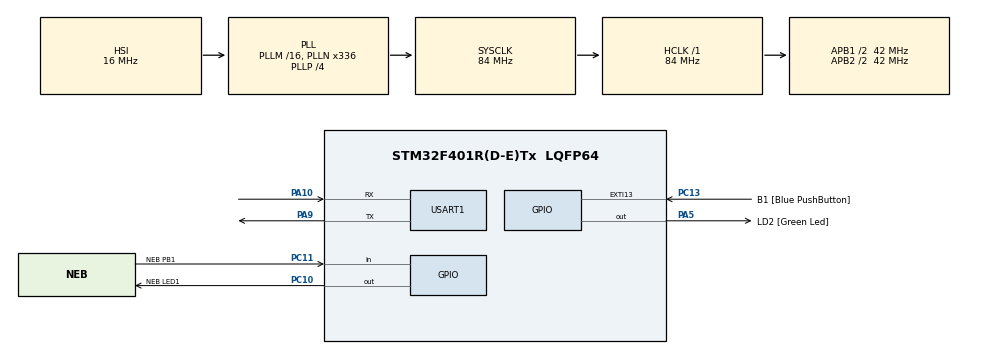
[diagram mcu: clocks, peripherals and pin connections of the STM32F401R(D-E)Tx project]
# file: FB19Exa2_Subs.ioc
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Mcu.Family=STM32F4
Mcu.Name=STM32F401R(D-E)Tx
Mcu.Package=LQFP64
NVIC.PriorityGroup=NVIC_PRIORITYGROUP_2
PA10.Mode=Asynchronous
PA10.Signal=USART1_RX
PA13.GPIO_Label=TMS
PA13.Mode=Serial_Wire
PA13.Signal=SYS_JTMS-SWDIO
PA14.GPIO_Label=TCK
PA14.Mode=Serial_Wire
PA14.Signal=SYS_JTCK-SWCLK
PA5.GPIO_Label=LD2 [Green Led]
PA5.GPIO_Mode=GPIO_MODE_OUTPUT_PP
PA5.GPIO_PuPd=GPIO_NOPULL
PA5.GPIO_Speed=GPIO_SPEED_FREQ_LOW
PA5.Signal=GPIO_Output
PA9.Mode=Asynchronous
PA9.Signal=USART1_TX
PB3.GPIO_Label=SWO
PB3.Signal=SYS_JTDO-SWO
PC10.GPIO_Label=NEB LED1
PC10.Signal=GPIO_Output
PC11.GPIO_Label=NEB PB1
PC11.GPIO_PuPd=GPIO_NOPULL
PC11.Signal=GPIO_Input
PC13-ANTI_TAMP.GPIO_Label=B1 [Blue PushButton]
PC13-ANTI_TAMP.GPIO_ModeDefaultEXTI=GPIO_MODE_IT_FALLING
PC13-ANTI_TAMP.GPIO_PuPd=GPIO_NOPULL
PC13-ANTI_TAMP.Signal=GPXTI13
PC14-OSC32_IN.Mode=LSE-External-Oscillator
PC14-OSC32_IN.Signal=RCC_OSC32_IN
PC15-OSC32_OUT.Mode=LSE-External-Oscillator
PC15-OSC32_OUT.Signal=RCC_OSC32_OUT
PH0\ -\ OSC_IN.Mode=HSE-External-Clock-Source
PH0\ -\ OSC_IN.Signal=RCC_OSC_IN
PH1\ -\ OSC_OUT.Mode=HSE-External-Clock-Source
PH1\ -\ OSC_OUT.Signal=RCC_OSC_OUT
ProjectManager.HeapSize=0x200
ProjectManager.StackSize=0x400
ProjectManager.TargetToolchain=STM32CubeIDE
RCC.48MHZClocksFreq_Value=48000000
RCC.AHBFreq_Value=84000000
RCC.APB1CLKDivider=RCC_HCLK_DIV2
RCC.APB1Freq_Value=42000000
RCC.APB1TimFreq_Value=84000000
RCC.APB2CLKDivider=RCC_HCLK_DIV2
RCC.APB2Freq_Value=42000000
RCC.APB2TimFreq_Value=84000000
RCC.CortexFreq_Value=84000000
RCC.HCLKFreq_Value=84000000
RCC.HSE_VALUE=8000000
RCC.HSI_VALUE=16000000
RCC.PLLN=336
RCC.PLLP=RCC_PLLP_DIV4
RCC.PLLQ=7
RCC.SYSCLKFreq_VALUE=84000000
RCC.SYSCLKSource=RCC_SYSCLKSOURCE_PLLCLK
RCC.VCOOutputFreq_Value=336000000
USART1.VirtualMode=VM_ASYNC
board=NUCLEO-F401RE

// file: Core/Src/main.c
/* USER CODE BEGIN Header */
/*
 *  Filename:       main.c
 *  Platform(s):    STM32F401x
 *  Project:        FB19Exa2_Subs
 *  Created:        December 06, 2023
 *  Description:    This file implements the main() function of this application.
 *
 *  Glossary:       LED:    Light Emitting Diode
 *                  NEB:    Nucleo Expansion Board for RS-232 & RS-485
 *                          communication by Bitcontrol GmbH, Switzerland,
 *                          v2.2 or higher
 *                  PB:     Push Button
 *
 *                  Responsibilities
 *                  ================
 *                  This application receives messages containing a single
 *                  32bit number as FB19 Subscriber. If the number is 0,
 *                  the application switches a single digital output (LED1
 *                  on the NEB) off, if it is not equal to zero, it switches it
 *                  on.
 *
 *                  It then returns the number as response message to the
 *                  FB19 Controller.
 *
 *                  USART1 is used to display this process on a serial terminal.
 *
 *                  FB19 Libraries
 *                  ==============
 *                  - FB19SubsLib
 *
 *                  Configuration
 *                  =============
 *                  FB19 Bitrate: 100kbit/s
 *                  FB19 Subscriber bus address: 1
 *                  FB19 Bus: RS-485 (not RS-232!)
 *                  USART1 RS-232 parameters: 115200/8/N/1
 *                  Used SoC resources:
 *                  - GPIOA, bit 7: FB19Subs RS-485 driver Data Output Enable
 *                  - GPIOC, bit 10: Digital output for setting LED1 state
 *                  - TIM3: FB19Subs
 *                  - USART1 (UART1): RS-232 Terminal
 *                  - USART2 (UART2): Unused
 *                  - USART6 (UART3): FB19Subs
 *                  Hardware:
 *                  - Nucleo Board: Nucleo-64 STM32F401
 *                    - Factory default settings
 *                  - Nucleo Expansion Board for RS-232 & RS-485 communication
 *                    by Bitcontrol GmbH, Switzerland, v2.2 or higher
 *                    - This board contains jumpers that relate to the bus
 *                      system:
 *                      - JP4, JP5: Don't care
 *                        If pins 2 & 3 are connected, UART2 can be used as
 *                        RS-232 interface on J3
 *                      - JP6, JP7: Connect pins 1 & 2
 *                        This selects RS-485 for UART3
 *                      - JP8, JP9: Connect pins 2 & 3
 *                        This connects UART3 to J2
 *
 *  Notes:          The initial version of this file was generated using
 *                  STMicroelectronics STM32CubeMX, v6.8.0.
 *                  Bitcontrol GmbH is grateful for ST's free of charge tools
 *                  and recommends them to any programmer, from hobbyist to
 *                  professional.
 *
 *                  Local symbols and functions that are user code specific
 *                  start with my_ or MY_ respectively for easy spotting.
 *
 *  Author:         Andreas Isenegger
 *  Copyright:      2023, Bitcontrol GmbH, Switzerland.
 *                  All rights reserved.
 */
/* USER CODE END Header */
#include "main.h"

/* USER CODE BEGIN Includes */
#include <stdio.h> // For printf()

#include "FB19LibMsg.h"
#include "FB19Subs.h"
#include "FB19SubsCfg.h"
/* USER CODE END Includes */

/* USER CODE BEGIN PD */
#define MY_BIT_RATE                     100000 // [bit/s]
#define MY_MAIN_LOOP_PERIOD_MS          500    // [ms]
#define MY_MESSAGE_IDENTIFIER           FB19_MSG_ID_USR_LOWEST
#define MY_SUBSCRIBER_BUS_ADDRESS       FB19_BUS_ADDR_SUBS_LOWEST
/* USER CODE END PD */

UART_HandleTypeDef huart1;

void SystemClock_Config(void);
static void MX_GPIO_Init(void);
static void MX_USART1_UART_Init(void);
/* USER CODE BEGIN PFP */
/* These convenience functions capture the different actions. */
static int myStartFB19(void);
static void mySubsProcessMsg(void); // Comprises fetch, process, submit
static void myWaitForTick(void);
/* USER CODE END PFP */

int main(void)
{

    /* MCU Configuration--------------------------------------------------------*/

    /* Reset of all peripherals, Initializes the Flash interface and the Systick. */
    HAL_Init();

    /* USER CODE BEGIN Init */
    __HAL_DBGMCU_FREEZE_TIM2();
    __HAL_DBGMCU_FREEZE_TIM3();
    /* USER CODE END Init */

    /* Configure the system clock */
    SystemClock_Config();

    /* USER CODE BEGIN SysInit */
    HAL_SetTickFreq(HAL_TICK_FREQ_100HZ);
    /* USER CODE END SysInit */

    /* Initialize all configured peripherals */
    MX_GPIO_Init();
    MX_USART1_UART_Init();
    /* USER CODE BEGIN 2 */
    int status = myStartFB19(); // Start Controller and Subscriber instances
    if (status != R_SUCCESS)
    {
        return 1; // Terminate application, return error value
    }
    /* USER CODE END 2 */

    /* Infinite loop */
    /* USER CODE BEGIN WHILE */
    while (1)
    {
        /* Call the FB19 handler function periodically. */
        FB19Subs_handler(&myInstFB19Subs);

        mySubsProcessMsg(); // Fetch msg from Rx queue, process it, submit result to Tx queue

        /* Slow this loop down as desired. */
        myWaitForTick(); // Tick frequency is 100Hz; see HAL_SetTickFreq() above
        /* USER CODE END WHILE */

        /* USER CODE BEGIN 3 */
    }
    return 0; // If ever reached
    /* USER CODE END 3 */
}

void SystemClock_Config(void)
{
  RCC_OscInitTypeDef RCC_OscInitStruct = {0};
  RCC_ClkInitTypeDef RCC_ClkInitStruct = {0};

  /** Configure the main internal regulator output voltage
  */
  __HAL_RCC_PWR_CLK_ENABLE();
  __HAL_PWR_VOLTAGESCALING_CONFIG(PWR_REGULATOR_VOLTAGE_SCALE2);

  /** Initializes the RCC Oscillators according to the specified parameters
  * in the RCC_OscInitTypeDef structure.
  */
  RCC_OscInitStruct.OscillatorType = RCC_OSCILLATORTYPE_HSI;
  RCC_OscInitStruct.HSIState = RCC_HSI_ON;
  RCC_OscInitStruct.HSICalibrationValue = RCC_HSICALIBRATION_DEFAULT;
  RCC_OscInitStruct.PLL.PLLState = RCC_PLL_ON;
  RCC_OscInitStruct.PLL.PLLSource = RCC_PLLSOURCE_HSI;
  RCC_OscInitStruct.PLL.PLLM = 16;
  RCC_OscInitStruct.PLL.PLLN = 336;
  RCC_OscInitStruct.PLL.PLLP = RCC_PLLP_DIV4;
  RCC_OscInitStruct.PLL.PLLQ = 7;
  if (HAL_RCC_OscConfig(&RCC_OscInitStruct) != HAL_OK)
  {
    Error_Handler();
  }

  /** Initializes the CPU, AHB and APB buses clocks
  */
  RCC_ClkInitStruct.ClockType = RCC_CLOCKTYPE_HCLK|RCC_CLOCKTYPE_SYSCLK
                              |RCC_CLOCKTYPE_PCLK1|RCC_CLOCKTYPE_PCLK2;
  RCC_ClkInitStruct.SYSCLKSource = RCC_SYSCLKSOURCE_PLLCLK;
  RCC_ClkInitStruct.AHBCLKDivider = RCC_SYSCLK_DIV1;
  RCC_ClkInitStruct.APB1CLKDivider = RCC_HCLK_DIV2;
  RCC_ClkInitStruct.APB2CLKDivider = RCC_HCLK_DIV2;

  if (HAL_RCC_ClockConfig(&RCC_ClkInitStruct, FLASH_LATENCY_2) != HAL_OK)
  {
    Error_Handler();
  }
}

static void MX_USART1_UART_Init(void)
{

  huart1.Instance = USART1;
  huart1.Init.BaudRate = 115200;
  huart1.Init.WordLength = UART_WORDLENGTH_8B;
  huart1.Init.StopBits = UART_STOPBITS_1;
  huart1.Init.Parity = UART_PARITY_NONE;
  huart1.Init.Mode = UART_MODE_TX_RX;
  huart1.Init.HwFlowCtl = UART_HWCONTROL_NONE;
  huart1.Init.OverSampling = UART_OVERSAMPLING_16;
  if (HAL_UART_Init(&huart1) != HAL_OK)
  {
    Error_Handler();
  }
  /* USER CODE BEGIN USART1_Init 2 */
    setvbuf(stdin, NULL, _IONBF, 0); // Disable console input buffering
  /* USER CODE END USART1_Init 2 */

}

static void MX_GPIO_Init(void)
{
  GPIO_InitTypeDef GPIO_InitStruct = {0};

  /* GPIO Ports Clock Enable */
  __HAL_RCC_GPIOC_CLK_ENABLE();
  __HAL_RCC_GPIOH_CLK_ENABLE();
  __HAL_RCC_GPIOA_CLK_ENABLE();
  __HAL_RCC_GPIOB_CLK_ENABLE();

  /*Configure GPIO pin Output Level */
  HAL_GPIO_WritePin(LD2_GPIO_Port, LD2_Pin, GPIO_PIN_RESET);

  /*Configure GPIO pin Output Level */
  HAL_GPIO_WritePin(NEB_LED1_GPIO_Port, NEB_LED1_Pin, GPIO_PIN_RESET);

  /*Configure GPIO pin : B1_Pin */
  GPIO_InitStruct.Pin = B1_Pin;
  GPIO_InitStruct.Mode = GPIO_MODE_IT_FALLING;
  GPIO_InitStruct.Pull = GPIO_NOPULL;
  HAL_GPIO_Init(B1_GPIO_Port, &GPIO_InitStruct);

  /*Configure GPIO pin : LD2_Pin */
  GPIO_InitStruct.Pin = LD2_Pin;
  GPIO_InitStruct.Mode = GPIO_MODE_OUTPUT_PP;
  GPIO_InitStruct.Pull = GPIO_NOPULL;
  GPIO_InitStruct.Speed = GPIO_SPEED_FREQ_LOW;
  HAL_GPIO_Init(LD2_GPIO_Port, &GPIO_InitStruct);

  /*Configure GPIO pin : NEB_LED1_Pin */
  GPIO_InitStruct.Pin = NEB_LED1_Pin;
  GPIO_InitStruct.Mode = GPIO_MODE_OUTPUT_PP;
  GPIO_InitStruct.Pull = GPIO_NOPULL;
  GPIO_InitStruct.Speed = GPIO_SPEED_FREQ_LOW;
  HAL_GPIO_Init(NEB_LED1_GPIO_Port, &GPIO_InitStruct);

  /*Configure GPIO pin : NEB_PB1_Pin */
  GPIO_InitStruct.Pin = NEB_PB1_Pin;
  GPIO_InitStruct.Mode = GPIO_MODE_INPUT;
  GPIO_InitStruct.Pull = GPIO_NOPULL;
  HAL_GPIO_Init(NEB_PB1_GPIO_Port, &GPIO_InitStruct);

}

/* USER CODE BEGIN 4 */
/*
 * FB19 Subscriber related: Fetches a message from the Rx queue if available,
 * switches LED1 on or off depending on the message contents, and returns
 * a response message with the received button status to the FB19 Controller.
 */
static void mySubsProcessMsg(void)
{
    static uint32_t noiseFaultCount;
    static uint32_t rxFaultCount;
    static uint32_t txFaultCount;

    int32_t buttonPressed;
    FB19Msg_t msg;
    msg.dscr.msgId = MY_MESSAGE_IDENTIFIER;
    int status;
    uint32_t tmp;

    status = FB19Subs_fetch(&myInstFB19Subs, &msg);
    // status equals R_ERROR unless there is a message with a matching
    // identifier in the receive queue.
    if (status == R_SUCCESS) // Message received?
    {
        if (msg.dscr.errSts == FB19_DRV_ERR_NONE)
        {
            status = FB19LibMsg_removeInt32(&msg, &buttonPressed);
            if (status == R_SUCCESS)
            {
                if (buttonPressed)
                {
                    GPIOC->ODR &= ~(1 << 10); // Switch LED1 on
                }
                else
                {
                    GPIOC->ODR |= (1 << 10); // Switch LED1 off
                }

                printf("FB19Subs rxd msg with val=%li\n", buttonPressed);
                msg.dscr.dstAddr = FB19_BUS_ADDR_CTRL;
                FB19LibMsg_appendInt32(&msg, buttonPressed); // Assume success, ignore return value
                status = FB19Subs_submit(&myInstFB19Subs, &msg);
                if (status == R_SUCCESS)
                {
                    printf("FB19Subs txd msg with val=%li\n", buttonPressed);
                }
                else
                {
                    printf("FB19Subs_submit() failed\n");
                }
            }
            else
            {
                printf("FB19LibMsg_removeInt32() failed\n");
            }
        }
        else
        {
            printf("FB19Subs rxd msg with error=%i\n", msg.dscr.errSts);
        }
    }

    /* Display error counts if they have changed. */
    FB19Subs_getNoiseFaultCount(&myInstFB19Subs, &tmp); // Processing return value is optional
    if (noiseFaultCount != tmp)
    {
        noiseFaultCount = tmp;
        printf("FB19Subs noise fault count=%lu\n", noiseFaultCount);
    }
    FB19Subs_getRxFaultCount(&myInstFB19Subs, &tmp); // Processing return value is optional
    if (rxFaultCount != tmp)
    {
        rxFaultCount = tmp;
        printf("FB19Subs Rx fault count=%lu\n", rxFaultCount);
    }
    FB19Subs_getTxFaultCount(&myInstFB19Subs, &tmp); // Processing return value is optional
    if (txFaultCount != tmp)
    {
        txFaultCount = tmp;
        printf("FB19Subs Tx fault count=%lu\n", txFaultCount);
    }
}

static int myStartFB19(void)
{
    int status;

    printf("FB19Subs version: %s\n", FB19Subs_getVersion());
    status = FB19Subs_start(&myInstFB19Subs, &myCfgFB19Subs, MY_BIT_RATE);
    if (status == R_SUCCESS)
    {
        printf("FB19Subs_start() succeeded\n");
    }
    else
    {
        printf("FB19Subs_start() failed\n");
    }
    printf("\n");
    return status;
}

static void myWaitForTick(void)
{
    volatile uint32_t tickCnt = HAL_GetTick();
    while (tickCnt == HAL_GetTick());
}
/* USER CODE END 4 */

void Error_Handler(void)
{
    __disable_irq();
    while (1)
    {
    }
}
